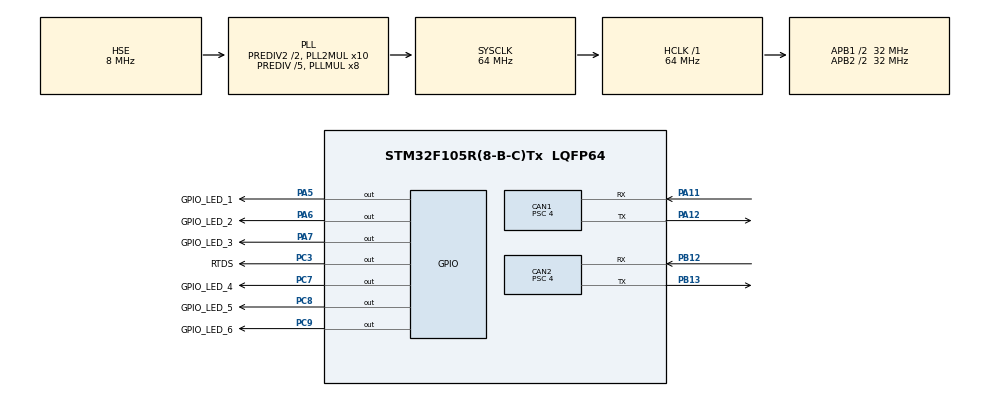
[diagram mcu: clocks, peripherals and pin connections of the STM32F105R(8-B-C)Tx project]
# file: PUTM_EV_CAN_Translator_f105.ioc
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CAN1.BS1=CAN_BS1_13TQ
CAN1.BS2=CAN_BS2_2TQ
CAN1.CalculateTimeBit=2000.00
CAN1.CalculateTimeQuantum=125.0
CAN1.Prescaler=4
CAN2.BS1=CAN_BS1_13TQ
CAN2.BS2=CAN_BS2_2TQ
CAN2.CalculateTimeBit=2000.00
CAN2.CalculateTimeQuantum=125.0
CAN2.Prescaler=4
Mcu.Family=STM32F1
Mcu.Name=STM32F105R(8-B-C)Tx
Mcu.Package=LQFP64
NVIC.CAN1_RX0_IRQn=true\:2\:0\:true\:false\:true\:true\:true
NVIC.CAN2_RX0_IRQn=true\:0\:0\:false\:false\:true\:true\:true
NVIC.PriorityGroup=NVIC_PRIORITYGROUP_4
NVIC.TIM2_IRQn=true\:0\:0\:false\:false\:true\:true\:true
NVIC.TIM3_IRQn=true\:0\:0\:false\:false\:true\:true\:true
PA11.Mode=Master
PA11.Signal=CAN1_RX
PA12.Mode=Master
PA12.Signal=CAN1_TX
PA13.Mode=Serial_Wire
PA13.Signal=SYS_JTMS-SWDIO
PA14.Mode=Serial_Wire
PA14.Signal=SYS_JTCK-SWCLK
PA5.GPIO_Label=GPIO_LED_1
PA5.GPIO_PuPd=GPIO_PULLDOWN
PA5.PinState=GPIO_PIN_SET
PA5.Signal=GPIO_Output
PA6.GPIO_Label=GPIO_LED_2
PA6.GPIO_PuPd=GPIO_PULLDOWN
PA6.PinState=GPIO_PIN_SET
PA6.Signal=GPIO_Output
PA7.GPIO_Label=GPIO_LED_3
PA7.GPIO_PuPd=GPIO_PULLDOWN
PA7.PinState=GPIO_PIN_SET
PA7.Signal=GPIO_Output
PB12.Mode=Slave
PB12.Signal=CAN2_RX
PB13.Mode=Slave
PB13.Signal=CAN2_TX
PB6.Signal=USART1_TX
PB7.Signal=USART1_RX
PC3.GPIO_Label=RTDS
PC3.Signal=GPIO_Output
PC7.GPIO_Label=GPIO_LED_4
PC7.GPIO_PuPd=GPIO_PULLDOWN
PC7.PinState=GPIO_PIN_SET
PC7.Signal=GPIO_Output
PC8.GPIO_Label=GPIO_LED_5
PC8.GPIO_PuPd=GPIO_PULLDOWN
PC8.PinState=GPIO_PIN_SET
PC8.Signal=GPIO_Output
PC9.GPIO_Label=GPIO_LED_6
PC9.GPIO_PuPd=GPIO_PULLDOWN
PC9.PinState=GPIO_PIN_SET
PC9.Signal=GPIO_Output
PD0-OSC_IN.Mode=HSE-External-Oscillator
PD0-OSC_IN.Signal=RCC_OSC_IN
PD1-OSC_OUT.Mode=HSE-External-Oscillator
PD1-OSC_OUT.Signal=RCC_OSC_OUT
ProjectManager.HeapSize=0x200
ProjectManager.StackSize=0x400
ProjectManager.TargetToolchain=STM32CubeIDE
RCC.AHBFreq_Value=64000000
RCC.APB1CLKDivider=RCC_HCLK_DIV2
RCC.APB1Freq_Value=32000000
RCC.APB1TimFreq_Value=64000000
RCC.APB2CLKDivider=RCC_HCLK_DIV2
RCC.APB2Freq_Value=32000000
RCC.APB2TimFreq_Value=64000000
RCC.HCLKFreq_Value=64000000
RCC.HSEDivPLL=RCC_HSE_PREDIV_DIV5
RCC.PLL2Mul=RCC_PLL2_MUL10
RCC.PLLMUL=RCC_PLL_MUL8
RCC.PLLSourceVirtual=RCC_PLLSOURCE_HSE
RCC.Prediv1Source=RCC_PREDIV1_SOURCE_PLL2
RCC.Prediv2=RCC_HSE_PREDIV2_DIV2
RCC.SYSCLKFreq_VALUE=64000000
RCC.SYSCLKSource=RCC_SYSCLKSOURCE_PLLCLK
RCC.USBFreq_Value=42666666.666666664
TIM2.AutoReloadPreload=TIM_AUTORELOAD_PRELOAD_ENABLE
TIM2.Period=63
TIM2.Prescaler=999
TIM3.AutoReloadPreload=TIM_AUTORELOAD_PRELOAD_ENABLE
TIM3.Period=63
TIM3.Prescaler=19999
VP_TIM2_VS_ClockSourceINT.Mode=Internal
VP_TIM3_VS_ClockSourceINT.Mode=Internal
board=custom

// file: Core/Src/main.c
/* USER CODE BEGIN Header */
/**
  ******************************************************************************
  * @file           : main.c
  * @brief          : Main program body
  ******************************************************************************
  * @attention
  *
  * <h2><center>&copy; Copyright (c) 2020 STMicroelectronics.
  * All rights reserved.</center></h2>
  *
  * This software component is licensed by ST under BSD 3-Clause license,
  * the "License"; You may not use this file except in compliance with the
  * License. You may obtain a copy of the License at:
  *                        opensource.org/licenses/BSD-3-Clause
  *
  ******************************************************************************
  */
/* USER CODE END Header */
#include "main.h"

/* USER CODE BEGIN Includes */
#include "can_messeges_func.h"
#include "inverter_register_codes.h"
#include "common.h"

/* USER CODE END Includes */

CAN_HandleTypeDef hcan1;
CAN_HandleTypeDef hcan2;

TIM_HandleTypeDef htim2;
TIM_HandleTypeDef htim3;

/* USER CODE BEGIN PV */
CAN_FilterTypeDef sFilterConfig;

CAN_RxHeaderTypeDef RxHeader_CAN1;
CAN_RxHeaderTypeDef RxHeader_CAN2;

uint8_t RxData_CAN1[8];
uint8_t RxData_CAN2[8];

uint32_t TxMailbox1;
uint32_t TxMailbox2;

uint16_t inverter_RPM;
uint16_t inverter_RPM_to_send;
uint16_t inverter_RMS;
uint16_t inverter_status;
uint8_t inverter_temp_IGBT;
uint8_t inverter_temp_engine;
uint16_t inverter_temp_IGBT_raw;
uint16_t inverter_temp_engine_raw;
uint16_t inverter_temp_air_raw;

uint16_t inverter_RPM_N_MAX;
uint16_t inverter_RPM_LIMIT;

const uint16_t inverter_igbt_temp_table[21] = {17151, 17400, 17688, 18017, 18387, 18979,
                                         19247, 19733, 20250, 20793, 21357, 21933, 22515, 23097,
                                         23671, 24232, 24775, 25296, 25792, 26261, 26702};

const uint16_t inverter_engine_temp_table[15] = {8438, 8971, 9510, 10052, 10592, 11128,
                                           11662, 12192, 12714, 13228, 13735, 14228, 14685, 15082, 15397};

typedef void (*request_list_type)(CAN_TxHeaderTypeDef *, uint8_t **);

uint32_t tim2_counter;
uint32_t last_apps_timestamp;
uint32_t apps_timeout_counter;
uint32_t engine_timeout_counter;

uint8_t send_inverter_data;
uint8_t send_apps_data;
uint8_t inverter_stopped;
uint8_t send_stop_limit;
uint8_t send_stop_N_max;

uint16_t apps_to_send = 0;
uint8_t TS_state = 0;
uint8_t RTDS_enable = 0;
uint16_t RTDS_counter = 0;
uint32_t RTDS_timestamp = 0;

/* USER CODE END PV */

void SystemClock_Config(void);

static void MX_GPIO_Init(void);

static void MX_CAN1_Init(void);

static void MX_CAN2_Init(void);

static void MX_TIM2_Init(void);

static void MX_TIM3_Init(void);

/* USER CODE BEGIN PFP */
static void my_init(void);

static void CAN_requests_Init(void);

static void my_init_CAN(void);

/* USER CODE END PFP */

int main(void) {

    /* MCU Configuration--------------------------------------------------------*/

    /* Reset of all peripherals, Initializes the Flash interface and the Systick. */
    HAL_Init();

    /* Configure the system clock */
    SystemClock_Config();

    /* Initialize all configured peripherals */
    MX_GPIO_Init();
    MX_CAN1_Init();
    MX_CAN2_Init();
    MX_TIM2_Init();
    MX_TIM3_Init();
    /* USER CODE BEGIN 2 */

    HAL_Delay(500);

    my_init();

    HAL_TIM_Base_Start_IT(&htim2);
    HAL_TIM_Base_Start_IT(&htim3);

    CAN_TxHeaderTypeDef tx_header_inverter_data;
    uint8_t inverter_data[8] = {0, 0, 0, 0, 0, 0, 0, 0};
    tx_header_inverter_data.StdId = INVERTER_MESS_ID;
    tx_header_inverter_data.RTR = CAN_RTR_DATA;
    tx_header_inverter_data.IDE = CAN_ID_STD;
    tx_header_inverter_data.DLC = INVERTER_MESS_DLC;
    tx_header_inverter_data.TransmitGlobalTime = DISABLE;
    uint32_t mail_data_inverter = 0;

    /* USER CODE END 2 */

    /* Infinite loop */
    while (1) {

        /* USER CODE BEGIN 3 */
        if (send_apps_data >= SEND_APPS_INTERVAL && TS_state && !inverter_stopped) {
            send_apps_data = 0;

            if (apps_to_send > 0) {
                apps_to_send = ((apps_to_send * TORQUE_MULTIPLIER) / TORQUE_DIVIDER);
            }
            else if (apps_to_send == 0 && inverter_RPM_to_send > 0) {
                apps_to_send = 0;
                //apps = -10;		// -2.5%
                //apps = -50;		// -5%
                //apps = -1 * (inverter_RPM_to_send * 10 / 0x7fff);

				//TODO
				//add function to calculate reverse torque to slow car down
				//test:
				//	- use constant torque
				//	- use function (linear or not)
            }

            CAN_TxHeaderTypeDef TxHeader;
            uint8_t TxData[3];
            CAN_set_speed_command(&TxHeader, TxData, apps_to_send);

            HAL_CAN_AbortTxRequest(&hcan2, TxMailbox2);
            if (HAL_CAN_AddTxMessage(&hcan2, &TxHeader, TxData, &TxMailbox2) != HAL_OK) {
                Error_Handler();
            }
        }

        if (send_inverter_data && !inverter_stopped) {
            inverter_temp_IGBT = calculate_IGBT_temperature(inverter_temp_IGBT_raw);
            inverter_temp_engine = calculate_engine_temperature(inverter_temp_engine_raw);
            uint16_t inverter_status_to_send = inverter_status;
            uint16_t inverter_RMS_to_sent = inverter_RMS;

            if (inverter_RPM_LIMIT == 0 && inverter_RPM_N_MAX == 0) {
                inverter_RPM_to_send = 0x7FFF;
            }
            else {
                inverter_RPM_to_send = (uint16_t) ((float) inverter_RPM / 32767.0f * (float) inverter_RPM_N_MAX);
            }

            inverter_data[0] = (uint8_t) (inverter_RPM_to_send & 0x00FF);
            inverter_data[1] = (uint8_t) (inverter_RPM_to_send >> 8);
            inverter_data[2] = (uint8_t) (inverter_RMS_to_sent & 0xFF);
            inverter_data[3] = (uint8_t) (inverter_RMS_to_sent >> 8);
            inverter_data[4] = (uint8_t) (inverter_status_to_send & 0xFF);
            inverter_data[5] = (uint8_t) (inverter_status_to_send >> 8);
            inverter_data[6] = inverter_temp_engine;
            inverter_data[7] = inverter_temp_IGBT;

            if (HAL_CAN_AddTxMessage(&hcan1, &tx_header_inverter_data, inverter_data, &mail_data_inverter) != HAL_OK) {
                Error_Handler();
            }
            send_inverter_data = 0;
        }

        if (send_stop_N_max && !inverter_stopped) {
            CAN_TxHeaderTypeDef tx_header_inverter_stop_N_max;
            uint8_t inverter_data_stop_max[3];
            uint32_t mail_data_inverter_stop_max = 0;

            CAN_stop_speed_limit_command(&tx_header_inverter_stop_N_max, inverter_data_stop_max);

            HAL_CAN_AddTxMessage(&hcan2, &tx_header_inverter_stop_N_max, inverter_data_stop_max,
                                 &mail_data_inverter_stop_max);
            while (HAL_CAN_IsTxMessagePending(&hcan2, mail_data_inverter_stop_max));
        }

        if (send_stop_limit && !inverter_stopped) {
            CAN_TxHeaderTypeDef tx_header_inverter_stop_limit;
            uint8_t inverter_data_stop_limit[3];
            uint32_t mail_data_inverter_stop_limit = 0;

            CAN_stop_speed_limit_command(&tx_header_inverter_stop_limit, inverter_data_stop_limit);

            HAL_CAN_AddTxMessage(&hcan2, &tx_header_inverter_stop_limit, inverter_data_stop_limit,
                                 &mail_data_inverter_stop_limit);
            while (HAL_CAN_IsTxMessagePending(&hcan2, mail_data_inverter_stop_limit));
        }

        if (inverter_stopped == 1) {
            CAN_TxHeaderTypeDef TxHeader_inverter_stopped;
            uint8_t TxData[2] = {INVERTER_ERROR_DATA, INVERTER_ERROR_DATA};
            TxHeader_inverter_stopped.StdId = INVERTER_ERROR_ID;
            TxHeader_inverter_stopped.IDE = CAN_ID_STD;
            TxHeader_inverter_stopped.RTR = CAN_RTR_DATA;
            TxHeader_inverter_stopped.TransmitGlobalTime = DISABLE;
            TxHeader_inverter_stopped.DLC = INVERTER_ERROR_DLC;

            HAL_CAN_AddTxMessage(&hcan1, &TxHeader_inverter_stopped, TxData, &TxMailbox1);
            HAL_Delay(10);
        }

        if (RTDS_enable) {
            HAL_GPIO_WritePin(RTDS_GPIO_Port, RTDS_Pin, GPIO_PIN_SET);
            HAL_GPIO_WritePin(GPIO_LED_1_GPIO_Port, GPIO_LED_1_Pin, GPIO_PIN_RESET);
        }

        if (!RTDS_enable) {
            HAL_GPIO_WritePin(RTDS_GPIO_Port, RTDS_Pin, GPIO_PIN_RESET);
            HAL_GPIO_WritePin(GPIO_LED_1_GPIO_Port, GPIO_LED_1_Pin, GPIO_PIN_SET);
        }
    }
    /* USER CODE END 3 */
}

void SystemClock_Config(void) {
    RCC_OscInitTypeDef RCC_OscInitStruct = {0};
    RCC_ClkInitTypeDef RCC_ClkInitStruct = {0};

    /** Initializes the RCC Oscillators according to the specified parameters
    * in the RCC_OscInitTypeDef structure.
    */
    RCC_OscInitStruct.OscillatorType = RCC_OSCILLATORTYPE_HSE;
    RCC_OscInitStruct.HSEState = RCC_HSE_ON;
    RCC_OscInitStruct.HSEPredivValue = RCC_HSE_PREDIV_DIV5;
    RCC_OscInitStruct.HSIState = RCC_HSI_ON;
    RCC_OscInitStruct.Prediv1Source = RCC_PREDIV1_SOURCE_PLL2;
    RCC_OscInitStruct.PLL.PLLState = RCC_PLL_ON;
    RCC_OscInitStruct.PLL.PLLSource = RCC_PLLSOURCE_HSE;
    RCC_OscInitStruct.PLL.PLLMUL = RCC_PLL_MUL8;
    RCC_OscInitStruct.PLL2.PLL2State = RCC_PLL2_ON;
    RCC_OscInitStruct.PLL2.PLL2MUL = RCC_PLL2_MUL10;
    RCC_OscInitStruct.PLL2.HSEPrediv2Value = RCC_HSE_PREDIV2_DIV2;
    if (HAL_RCC_OscConfig(&RCC_OscInitStruct) != HAL_OK) {
        Error_Handler();
    }
    /** Initializes the CPU, AHB and APB buses clocks
    */
    RCC_ClkInitStruct.ClockType = RCC_CLOCKTYPE_HCLK | RCC_CLOCKTYPE_SYSCLK
                                  | RCC_CLOCKTYPE_PCLK1 | RCC_CLOCKTYPE_PCLK2;
    RCC_ClkInitStruct.SYSCLKSource = RCC_SYSCLKSOURCE_PLLCLK;
    RCC_ClkInitStruct.AHBCLKDivider = RCC_SYSCLK_DIV1;
    RCC_ClkInitStruct.APB1CLKDivider = RCC_HCLK_DIV2;
    RCC_ClkInitStruct.APB2CLKDivider = RCC_HCLK_DIV2;

    if (HAL_RCC_ClockConfig(&RCC_ClkInitStruct, FLASH_LATENCY_2) != HAL_OK) {
        Error_Handler();
    }
    /** Configure the Systick interrupt time
    */
    __HAL_RCC_PLLI2S_ENABLE();
}

static void MX_CAN1_Init(void) {

    hcan1.Instance = CAN1;
    hcan1.Init.Prescaler = 4;
    hcan1.Init.Mode = CAN_MODE_NORMAL;
    hcan1.Init.SyncJumpWidth = CAN_SJW_1TQ;
    hcan1.Init.TimeSeg1 = CAN_BS1_13TQ;
    hcan1.Init.TimeSeg2 = CAN_BS2_2TQ;
    hcan1.Init.TimeTriggeredMode = DISABLE;
    hcan1.Init.AutoBusOff = DISABLE;
    hcan1.Init.AutoWakeUp = DISABLE;
    hcan1.Init.AutoRetransmission = DISABLE;
    hcan1.Init.ReceiveFifoLocked = DISABLE;
    hcan1.Init.TransmitFifoPriority = DISABLE;
    if (HAL_CAN_Init(&hcan1) != HAL_OK) {
        Error_Handler();
    }

}

static void MX_CAN2_Init(void) {

    hcan2.Instance = CAN2;
    hcan2.Init.Prescaler = 4;
    hcan2.Init.Mode = CAN_MODE_NORMAL;
    hcan2.Init.SyncJumpWidth = CAN_SJW_1TQ;
    hcan2.Init.TimeSeg1 = CAN_BS1_13TQ;
    hcan2.Init.TimeSeg2 = CAN_BS2_2TQ;
    hcan2.Init.TimeTriggeredMode = DISABLE;
    hcan2.Init.AutoBusOff = DISABLE;
    hcan2.Init.AutoWakeUp = DISABLE;
    hcan2.Init.AutoRetransmission = DISABLE;
    hcan2.Init.ReceiveFifoLocked = DISABLE;
    hcan2.Init.TransmitFifoPriority = DISABLE;
    if (HAL_CAN_Init(&hcan2) != HAL_OK) {
        Error_Handler();
    }

}

static void MX_TIM2_Init(void) {

    TIM_ClockConfigTypeDef sClockSourceConfig = {0};
    TIM_MasterConfigTypeDef sMasterConfig = {0};

    htim2.Instance = TIM2;
    htim2.Init.Prescaler = 999;
    htim2.Init.CounterMode = TIM_COUNTERMODE_UP;
    htim2.Init.Period = 63;
    htim2.Init.ClockDivision = TIM_CLOCKDIVISION_DIV1;
    htim2.Init.AutoReloadPreload = TIM_AUTORELOAD_PRELOAD_ENABLE;
    if (HAL_TIM_Base_Init(&htim2) != HAL_OK) {
        Error_Handler();
    }
    sClockSourceConfig.ClockSource = TIM_CLOCKSOURCE_INTERNAL;
    if (HAL_TIM_ConfigClockSource(&htim2, &sClockSourceConfig) != HAL_OK) {
        Error_Handler();
    }
    sMasterConfig.MasterOutputTrigger = TIM_TRGO_RESET;
    sMasterConfig.MasterSlaveMode = TIM_MASTERSLAVEMODE_DISABLE;
    if (HAL_TIMEx_MasterConfigSynchronization(&htim2, &sMasterConfig) != HAL_OK) {
        Error_Handler();
    }

}

static void MX_TIM3_Init(void) {

    TIM_ClockConfigTypeDef sClockSourceConfig = {0};
    TIM_MasterConfigTypeDef sMasterConfig = {0};

    htim3.Instance = TIM3;
    htim3.Init.Prescaler = 19999;
    htim3.Init.CounterMode = TIM_COUNTERMODE_UP;
    htim3.Init.Period = 63;
    htim3.Init.ClockDivision = TIM_CLOCKDIVISION_DIV1;
    htim3.Init.AutoReloadPreload = TIM_AUTORELOAD_PRELOAD_ENABLE;
    if (HAL_TIM_Base_Init(&htim3) != HAL_OK) {
        Error_Handler();
    }
    sClockSourceConfig.ClockSource = TIM_CLOCKSOURCE_INTERNAL;
    if (HAL_TIM_ConfigClockSource(&htim3, &sClockSourceConfig) != HAL_OK) {
        Error_Handler();
    }
    sMasterConfig.MasterOutputTrigger = TIM_TRGO_RESET;
    sMasterConfig.MasterSlaveMode = TIM_MASTERSLAVEMODE_DISABLE;
    if (HAL_TIMEx_MasterConfigSynchronization(&htim3, &sMasterConfig) != HAL_OK) {
        Error_Handler();
    }

}

static void MX_GPIO_Init(void) {
    GPIO_InitTypeDef GPIO_InitStruct = {0};

    /* GPIO Ports Clock Enable */
    __HAL_RCC_GPIOD_CLK_ENABLE();
    __HAL_RCC_GPIOC_CLK_ENABLE();
    __HAL_RCC_GPIOA_CLK_ENABLE();
    __HAL_RCC_GPIOB_CLK_ENABLE();

    /*Configure GPIO pin Output Level */
    HAL_GPIO_WritePin(RTDS_GPIO_Port, RTDS_Pin, GPIO_PIN_RESET);

    /*Configure GPIO pin Output Level */
    HAL_GPIO_WritePin(GPIOA, GPIO_LED_1_Pin | GPIO_LED_2_Pin | GPIO_LED_3_Pin, GPIO_PIN_SET);

    /*Configure GPIO pin Output Level */
    HAL_GPIO_WritePin(GPIOC, GPIO_LED_4_Pin | GPIO_LED_5_Pin | GPIO_LED_6_Pin, GPIO_PIN_SET);

    /*Configure GPIO pin : RTDS_Pin */
    GPIO_InitStruct.Pin = RTDS_Pin;
    GPIO_InitStruct.Mode = GPIO_MODE_OUTPUT_PP;
    GPIO_InitStruct.Pull = GPIO_NOPULL;
    GPIO_InitStruct.Speed = GPIO_SPEED_FREQ_LOW;
    HAL_GPIO_Init(RTDS_GPIO_Port, &GPIO_InitStruct);

    /*Configure GPIO pins : GPIO_LED_1_Pin GPIO_LED_2_Pin GPIO_LED_3_Pin */
    GPIO_InitStruct.Pin = GPIO_LED_1_Pin | GPIO_LED_2_Pin | GPIO_LED_3_Pin;
    GPIO_InitStruct.Mode = GPIO_MODE_OUTPUT_PP;
    GPIO_InitStruct.Pull = GPIO_PULLDOWN;
    GPIO_InitStruct.Speed = GPIO_SPEED_FREQ_LOW;
    HAL_GPIO_Init(GPIOA, &GPIO_InitStruct);

    /*Configure GPIO pins : GPIO_LED_4_Pin GPIO_LED_5_Pin GPIO_LED_6_Pin */
    GPIO_InitStruct.Pin = GPIO_LED_4_Pin | GPIO_LED_5_Pin | GPIO_LED_6_Pin;
    GPIO_InitStruct.Mode = GPIO_MODE_OUTPUT_PP;
    GPIO_InitStruct.Pull = GPIO_PULLDOWN;
    GPIO_InitStruct.Speed = GPIO_SPEED_FREQ_LOW;
    HAL_GPIO_Init(GPIOC, &GPIO_InitStruct);

    /*Configure GPIO pin : PB6 */
    GPIO_InitStruct.Pin = GPIO_PIN_6;
    GPIO_InitStruct.Mode = GPIO_MODE_AF_PP;
    GPIO_InitStruct.Speed = GPIO_SPEED_FREQ_HIGH;
    HAL_GPIO_Init(GPIOB, &GPIO_InitStruct);

    /*Configure GPIO pin : PB7 */
    GPIO_InitStruct.Pin = GPIO_PIN_7;
    GPIO_InitStruct.Mode = GPIO_MODE_INPUT;
    GPIO_InitStruct.Pull = GPIO_NOPULL;
    HAL_GPIO_Init(GPIOB, &GPIO_InitStruct);

    /*Configure peripheral I/O remapping */
    __HAL_AFIO_REMAP_USART1_ENABLE();

}

/* USER CODE BEGIN 4 */
static void my_init(void) {
    inverter_RPM_to_send = 0;
    inverter_RPM_N_MAX = 0;
    inverter_RPM_LIMIT = 0;

    tim2_counter = 0;
    apps_timeout_counter = 0;
    engine_timeout_counter = 0;

    send_inverter_data = 0;

    my_init_CAN();

    CAN_requests_Init();

    HAL_GPIO_WritePin(GPIO_LED_1_GPIO_Port, GPIO_LED_1_Pin, 1);
    HAL_GPIO_WritePin(GPIO_LED_2_GPIO_Port, GPIO_LED_2_Pin, 1);
    HAL_GPIO_WritePin(GPIO_LED_3_GPIO_Port, GPIO_LED_3_Pin, 1);
    HAL_GPIO_WritePin(GPIO_LED_4_GPIO_Port, GPIO_LED_4_Pin, 1);
    HAL_GPIO_WritePin(GPIO_LED_5_GPIO_Port, GPIO_LED_5_Pin, 1);
    HAL_GPIO_WritePin(GPIO_LED_6_GPIO_Port, GPIO_LED_6_Pin, 1);
}

static void CAN_requests_Init(void) {
    request_list_type requests[5] = {
            &CAN_request_speed_command,
            &CAN_request_igbt_temp_command,
            &CAN_request_motor_temp_command,
            &CAN_request_N_max_command,
            &CAN_request_speed_limit_command
    };

    for (int i = 0; i < 5; ++i) {
        CAN_TxHeaderTypeDef TxHeader;
        uint8_t *TxData = NULL;

        requests[i](&TxHeader, &TxData);

        if (HAL_CAN_AddTxMessage(&hcan2, &TxHeader, TxData, &TxMailbox2) != HAL_OK) {
            Error_Handler();
        }

        while (HAL_CAN_IsTxMessagePending(&hcan2, TxMailbox2));

        HAL_Delay(3);
        free(TxData);
    }

    HAL_Delay(10);
}

static void my_init_CAN(void) {
    sFilterConfig.FilterBank = 15;
    sFilterConfig.FilterMode = CAN_FILTERMODE_IDMASK;
    sFilterConfig.FilterScale = CAN_FILTERSCALE_32BIT;
    sFilterConfig.FilterIdHigh = 0x0000;
    sFilterConfig.FilterIdLow = 0x0000;
    sFilterConfig.FilterMaskIdHigh = 0x0;
    sFilterConfig.FilterMaskIdLow = 0x0;
    sFilterConfig.FilterFIFOAssignment = CAN_RX_FIFO0;
    sFilterConfig.FilterActivation = ENABLE;
    sFilterConfig.SlaveStartFilterBank = 14;

    if (HAL_CAN_ConfigFilter(&hcan1, &sFilterConfig) != HAL_OK) {
        Error_Handler();
    }

    if (HAL_CAN_ConfigFilter(&hcan2, &sFilterConfig) != HAL_OK) {
        Error_Handler();
    }

    if (HAL_CAN_Start(&hcan1) != HAL_OK) {
        Error_Handler();
    }

    if (HAL_CAN_Start(&hcan2) != HAL_OK) {
        Error_Handler();
    }

    if (HAL_CAN_ActivateNotification(&hcan1, CAN_IT_RX_FIFO0_MSG_PENDING | CAN_IT_TX_MAILBOX_EMPTY) != HAL_OK) {
        Error_Handler();
    }

    if (HAL_CAN_ActivateNotification(&hcan2, CAN_IT_RX_FIFO0_MSG_PENDING | CAN_IT_TX_MAILBOX_EMPTY) != HAL_OK) {
        Error_Handler();
    }
}
/* USER CODE END 4 */

void Error_Handler(void) {
    /* USER CODE BEGIN Error_Handler_Debug */
    /* User can add his own implementation to report the HAL error return state */
    HAL_GPIO_WritePin(GPIO_LED_3_GPIO_Port, GPIO_LED_3_Pin, 0);
    /* USER CODE END Error_Handler_Debug */
}

/************************ (C) COPYRIGHT STMicroelectronics *****END OF FILE****/
